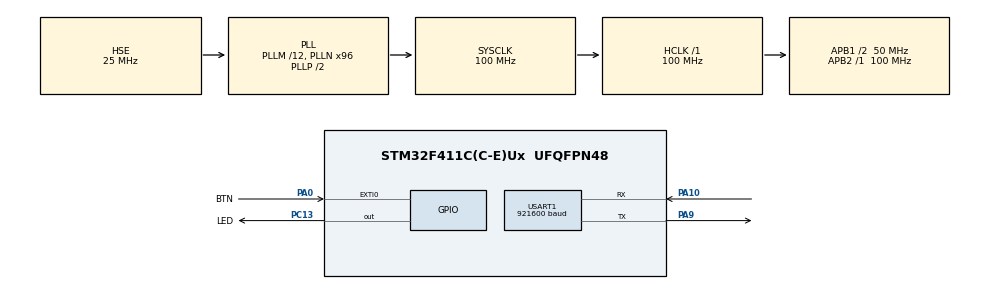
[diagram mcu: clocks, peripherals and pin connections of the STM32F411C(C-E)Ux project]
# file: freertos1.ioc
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FREERTOS.BinarySemaphores01=btnSem,Dynamic,NULL
FREERTOS.Mutexes01=serialMux,Dynamic,NULL
FREERTOS.Tasks01=mainTask,24,128,startMainTask,Default,NULL,Dynamic,NULL,NULL;ledTask,24,128,startLedTask,Default,NULL,Dynamic,NULL,NULL;btnTask,24,128,startBtnTask,Default,NULL,Dynamic,NULL,NULL
FREERTOS.configUSE_NEWLIB_REENTRANT=1
Mcu.Family=STM32F4
Mcu.Name=STM32F411C(C-E)Ux
Mcu.Package=UFQFPN48
NVIC.EXTI0_IRQn=true\:5\:0\:false\:false\:true\:true\:true\:true\:true
NVIC.PriorityGroup=NVIC_PRIORITYGROUP_4
NVIC.TIM1_UP_TIM10_IRQn=true\:15\:0\:false\:false\:true\:false\:false\:true\:true
NVIC.TimeBase=TIM1_UP_TIM10_IRQn
NVIC.TimeBaseIP=TIM10
PA0-WKUP.GPIO_Label=BTN
PA0-WKUP.GPIO_ModeDefaultEXTI=GPIO_MODE_IT_FALLING
PA0-WKUP.GPIO_PuPd=GPIO_PULLUP
PA0-WKUP.Signal=GPXTI0
PA10.Mode=Asynchronous
PA10.Signal=USART1_RX
PA13.Mode=Serial_Wire
PA13.Signal=SYS_JTMS-SWDIO
PA14.Mode=Serial_Wire
PA14.Signal=SYS_JTCK-SWCLK
PA9.Mode=Asynchronous
PA9.Signal=USART1_TX
PC13-ANTI_TAMP.GPIO_Label=LED
PC13-ANTI_TAMP.GPIO_ModeDefaultOutputPP=GPIO_MODE_OUTPUT_OD
PC13-ANTI_TAMP.PinState=GPIO_PIN_RESET
PC13-ANTI_TAMP.Signal=GPIO_Output
PH0\ -\ OSC_IN.Mode=HSE-External-Oscillator
PH0\ -\ OSC_IN.Signal=RCC_OSC_IN
PH1\ -\ OSC_OUT.Mode=HSE-External-Oscillator
PH1\ -\ OSC_OUT.Signal=RCC_OSC_OUT
ProjectManager.HeapSize=0x200
ProjectManager.StackSize=0x400
ProjectManager.TargetToolchain=STM32CubeIDE
RCC.48MHZClocksFreq_Value=50000000
RCC.AHBFreq_Value=100000000
RCC.APB1CLKDivider=RCC_HCLK_DIV2
RCC.APB1Freq_Value=50000000
RCC.APB1TimFreq_Value=100000000
RCC.APB2Freq_Value=100000000
RCC.APB2TimFreq_Value=100000000
RCC.CortexFreq_Value=100000000
RCC.HCLKFreq_Value=100000000
RCC.HSE_VALUE=25000000
RCC.HSI_VALUE=16000000
RCC.LSE_VALUE=32768
RCC.PLLM=12
RCC.PLLN=96
RCC.PLLSourceVirtual=RCC_PLLSOURCE_HSE
RCC.SYSCLKFreq_VALUE=100000000
RCC.SYSCLKSource=RCC_SYSCLKSOURCE_PLLCLK
RCC.VCOOutputFreq_Value=200000000
USART1.BaudRate=921600
USART1.VirtualMode=VM_ASYNC
VP_FREERTOS_VS_CMSIS_V2.Mode=CMSIS_V2
VP_SYS_VS_tim10.Mode=TIM10
board=custom

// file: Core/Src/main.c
/* USER CODE BEGIN Header */
/**
  ******************************************************************************
  * @file           : main.c
  * @brief          : Main program body
  ******************************************************************************
  * @attention
  *
  * <h2><center>&copy; Copyright (c) 2021 STMicroelectronics.
  * All rights reserved.</center></h2>
  *
  * This software component is licensed by ST under BSD 3-Clause license,
  * the "License"; You may not use this file except in compliance with the
  * License. You may obtain a copy of the License at:
  *                        opensource.org/licenses/BSD-3-Clause
  *
  ******************************************************************************
  */
/* USER CODE END Header */
#include "main.h"
#include "cmsis_os.h"

/* USER CODE BEGIN Includes */
#include "stdio.h"
/* USER CODE END Includes */

/* USER CODE BEGIN PD */
#define LED_FAST_DELAY 50
#define LED_SLOW_DELAY 500
/* USER CODE END PD */

UART_HandleTypeDef huart1;

/* Definitions for mainTask */
osThreadId_t mainTaskHandle;
const osThreadAttr_t mainTask_attributes = {
  .name = "mainTask",
  .stack_size = 128 * 4,
  .priority = (osPriority_t) osPriorityNormal,
};
/* Definitions for ledTask */
osThreadId_t ledTaskHandle;
const osThreadAttr_t ledTask_attributes = {
  .name = "ledTask",
  .stack_size = 128 * 4,
  .priority = (osPriority_t) osPriorityNormal,
};
/* Definitions for btnTask */
osThreadId_t btnTaskHandle;
const osThreadAttr_t btnTask_attributes = {
  .name = "btnTask",
  .stack_size = 128 * 4,
  .priority = (osPriority_t) osPriorityNormal,
};
/* Definitions for serialMux */
osMutexId_t serialMuxHandle;
const osMutexAttr_t serialMux_attributes = {
  .name = "serialMux"
};
/* Definitions for btnSem */
osSemaphoreId_t btnSemHandle;
const osSemaphoreAttr_t btnSem_attributes = {
  .name = "btnSem"
};
/* USER CODE BEGIN PV */
uint32_t cnt = 0;
/* USER CODE END PV */

void SystemClock_Config(void);
static void MX_GPIO_Init(void);
static void MX_USART1_UART_Init(void);
void startMainTask(void *argument);
void startLedTask(void *argument);
void startBtnTask(void *argument);

/* USER CODE BEGIN 0 */

// Send printf to uart1
int _write(int fd, char* ptr, int len) {
  HAL_StatusTypeDef hstatus;

  if (fd == 1 || fd == 2) {
    hstatus = HAL_UART_Transmit(&huart1, (uint8_t *) ptr, len, HAL_MAX_DELAY);
    if (hstatus == HAL_OK)
      return len;
    else
      return -1;
  }
  return -1;
}

void HAL_GPIO_EXTI_Callback(uint16_t GPIO_Pin) {
        if (GPIO_Pin == BTN_Pin) // If the button
        {
                osSemaphoreRelease(btnSemHandle); // Signal task to deal with button
        }
}

/* USER CODE END 0 */

int main(void)
{

  /* MCU Configuration--------------------------------------------------------*/

  /* Reset of all peripherals, Initializes the Flash interface and the Systick. */
  HAL_Init();

  /* Configure the system clock */
  SystemClock_Config();

  /* Initialize all configured peripherals */
  MX_GPIO_Init();
  MX_USART1_UART_Init();

  /* Init scheduler */
  osKernelInitialize();
  /* Create the mutex(es) */
  /* creation of serialMux */
  serialMuxHandle = osMutexNew(&serialMux_attributes);

  /* Create the semaphores(s) */
  /* creation of btnSem */
  btnSemHandle = osSemaphoreNew(1, 0, &btnSem_attributes);

  /* Create the thread(s) */
  /* creation of mainTask */
  mainTaskHandle = osThreadNew(startMainTask, NULL, &mainTask_attributes);

  /* creation of ledTask */
  ledTaskHandle = osThreadNew(startLedTask, NULL, &ledTask_attributes);

  /* creation of btnTask */
  btnTaskHandle = osThreadNew(startBtnTask, NULL, &btnTask_attributes);

  /* Start scheduler */
  osKernelStart();

  /* We should never get here as control is now taken by the scheduler */
  /* Infinite loop */
  while (1)
  {

  }
}

void SystemClock_Config(void)
{
  RCC_OscInitTypeDef RCC_OscInitStruct = {0};
  RCC_ClkInitTypeDef RCC_ClkInitStruct = {0};

  /** Configure the main internal regulator output voltage
  */
  __HAL_RCC_PWR_CLK_ENABLE();
  __HAL_PWR_VOLTAGESCALING_CONFIG(PWR_REGULATOR_VOLTAGE_SCALE1);

  /** Initializes the RCC Oscillators according to the specified parameters
  * in the RCC_OscInitTypeDef structure.
  */
  RCC_OscInitStruct.OscillatorType = RCC_OSCILLATORTYPE_HSE;
  RCC_OscInitStruct.HSEState = RCC_HSE_ON;
  RCC_OscInitStruct.PLL.PLLState = RCC_PLL_ON;
  RCC_OscInitStruct.PLL.PLLSource = RCC_PLLSOURCE_HSE;
  RCC_OscInitStruct.PLL.PLLM = 12;
  RCC_OscInitStruct.PLL.PLLN = 96;
  RCC_OscInitStruct.PLL.PLLP = RCC_PLLP_DIV2;
  RCC_OscInitStruct.PLL.PLLQ = 4;
  if (HAL_RCC_OscConfig(&RCC_OscInitStruct) != HAL_OK)
  {
    Error_Handler();
  }

  /** Initializes the CPU, AHB and APB buses clocks
  */
  RCC_ClkInitStruct.ClockType = RCC_CLOCKTYPE_HCLK|RCC_CLOCKTYPE_SYSCLK
                              |RCC_CLOCKTYPE_PCLK1|RCC_CLOCKTYPE_PCLK2;
  RCC_ClkInitStruct.SYSCLKSource = RCC_SYSCLKSOURCE_PLLCLK;
  RCC_ClkInitStruct.AHBCLKDivider = RCC_SYSCLK_DIV1;
  RCC_ClkInitStruct.APB1CLKDivider = RCC_HCLK_DIV2;
  RCC_ClkInitStruct.APB2CLKDivider = RCC_HCLK_DIV1;

  if (HAL_RCC_ClockConfig(&RCC_ClkInitStruct, FLASH_LATENCY_3) != HAL_OK)
  {
    Error_Handler();
  }
}

static void MX_USART1_UART_Init(void)
{

  huart1.Instance = USART1;
  huart1.Init.BaudRate = 921600;
  huart1.Init.WordLength = UART_WORDLENGTH_8B;
  huart1.Init.StopBits = UART_STOPBITS_1;
  huart1.Init.Parity = UART_PARITY_NONE;
  huart1.Init.Mode = UART_MODE_TX_RX;
  huart1.Init.HwFlowCtl = UART_HWCONTROL_NONE;
  huart1.Init.OverSampling = UART_OVERSAMPLING_16;
  if (HAL_UART_Init(&huart1) != HAL_OK)
  {
    Error_Handler();
  }

}

static void MX_GPIO_Init(void)
{
  GPIO_InitTypeDef GPIO_InitStruct = {0};

  /* GPIO Ports Clock Enable */
  __HAL_RCC_GPIOC_CLK_ENABLE();
  __HAL_RCC_GPIOH_CLK_ENABLE();
  __HAL_RCC_GPIOA_CLK_ENABLE();

  /*Configure GPIO pin Output Level */
  HAL_GPIO_WritePin(LED_GPIO_Port, LED_Pin, GPIO_PIN_RESET);

  /*Configure GPIO pin : LED_Pin */
  GPIO_InitStruct.Pin = LED_Pin;
  GPIO_InitStruct.Mode = GPIO_MODE_OUTPUT_OD;
  GPIO_InitStruct.Pull = GPIO_NOPULL;
  GPIO_InitStruct.Speed = GPIO_SPEED_FREQ_LOW;
  HAL_GPIO_Init(LED_GPIO_Port, &GPIO_InitStruct);

  /*Configure GPIO pin : BTN_Pin */
  GPIO_InitStruct.Pin = BTN_Pin;
  GPIO_InitStruct.Mode = GPIO_MODE_IT_FALLING;
  GPIO_InitStruct.Pull = GPIO_PULLUP;
  HAL_GPIO_Init(BTN_GPIO_Port, &GPIO_InitStruct);

  /* EXTI interrupt init*/
  HAL_NVIC_SetPriority(EXTI0_IRQn, 5, 0);
  HAL_NVIC_EnableIRQ(EXTI0_IRQn);

}

void startMainTask(void *argument)
{
  /* USER CODE BEGIN 5 */

  /* Infinite loop */
  for(;;)
  {
	DBG("Tick %lu", osKernelSysTick() / 1000);
    osDelay(500);
    cnt++;
  }
  /* USER CODE END 5 */
}

void startLedTask(void *argument)
{
  /* USER CODE BEGIN startLedTask */
  /* Infinite loop */
  for(;;)
  {
	HAL_GPIO_TogglePin(LED_GPIO_Port, LED_Pin);
    osDelay(500);
  }
  /* USER CODE END startLedTask */
}

void startBtnTask(void *argument)
{
  /* USER CODE BEGIN startBtnTask */
  /* Infinite loop */
  for(;;)
  {
    osSemaphoreWait(btnSemHandle, osWaitForever);
    DBG("Button pressed");
  }
  /* USER CODE END startBtnTask */
}

void HAL_TIM_PeriodElapsedCallback(TIM_HandleTypeDef *htim)
{
  if (htim->Instance == TIM10) {
    HAL_IncTick();
  }
}

void Error_Handler(void)
{
  __disable_irq();
  while (1)
  {
  }
}
